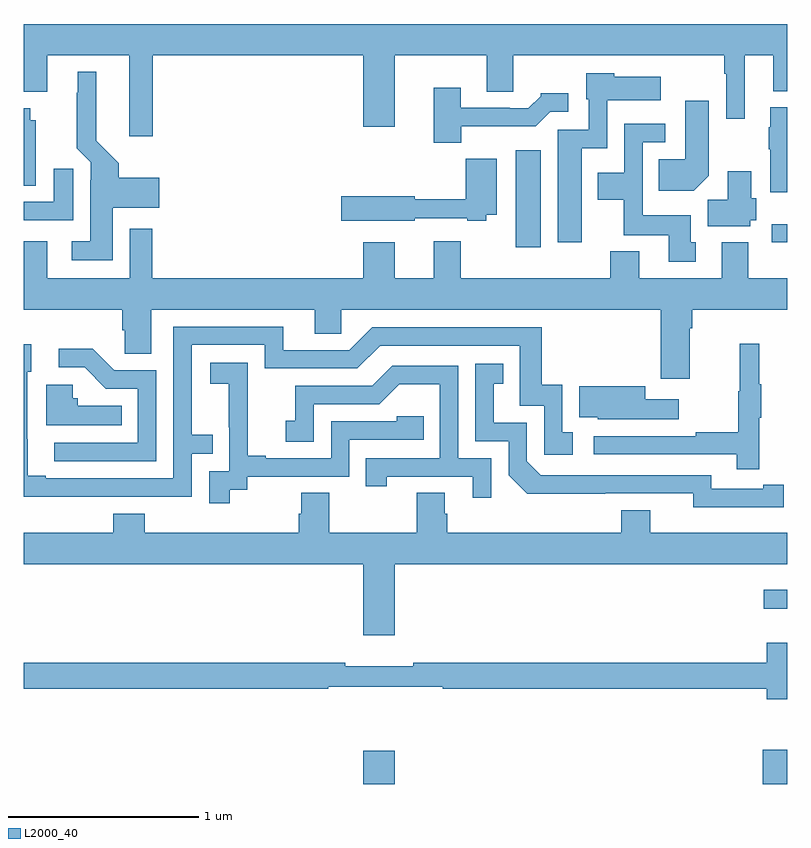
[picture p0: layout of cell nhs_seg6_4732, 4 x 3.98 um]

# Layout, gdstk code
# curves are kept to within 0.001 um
import gdstk
lib = gdstk.Library(unit=1e-6, precision=1e-09)
def R(c, l, rs):  # rectangles x0, y0, x1, y1
    for r in rs: c.add(gdstk.rectangle(r[:2], r[2:], *l))
def P(c, l, *ps):  # polygons
    for p in ps: c.add(gdstk.Polygon(p, *l))
L2000_40 = (2000, 40)

nhs_seg6_4732 = lib.new_cell('nhs_seg6_4732')
R(nhs_seg6_4732, L2000_40, [(392.78,963.5,392.944,963.673), (394.871,963.5,395,963.679), (394.875,964.419,395,964.516), (393.578,966.312,393.709,966.82), (394.917,966.336,395,966.432)])
P(nhs_seg6_4732, L2000_40, [(391.676,967.316),(392.78,967.316),(392.78,966.942),(392.944,966.942),(392.944,967.316),(393.425,967.316),(393.425,967.126),(393.565,967.126),(393.565,967.316),(394.668,967.316),(394.668,967.22),(394.68,967.22),(394.68,966.984),(394.777,966.984),(394.777,967.316),(394.925,967.316),(394.925,967.129),(395,967.129),(395,967.48),(391,967.48),(391,967.124),(391.123,967.124),(391.123,967.316),(391.553,967.316),(391.553,966.891),(391.676,966.891)],
  [(391.468,966.518),(391.711,966.518),(391.711,966.676),(391.499,966.676),(391.499,966.75),(391.381,966.868),(391.381,967.231),(391.283,967.231),(391.283,967.121),(391.279,967.121),(391.279,966.83),(391.353,966.756),(391.353,966.662),(391.349,966.662),(391.349,966.343),(391.251,966.343),(391.251,966.242),(391.468,966.242)],
  [(393.922,966.83),(394.056,966.83),(394.056,967.082),(394.336,967.082),(394.336,967.204),(394.092,967.204),(394.092,967.222),(393.947,967.222),(393.947,967.086),(393.96,967.086),(393.96,966.927),(393.797,966.927),(393.797,966.336),(393.922,966.336)],
  [(393.292,966.944),(393.683,966.944),(393.759,967.02),(393.853,967.02),(393.853,967.117),(393.708,967.117),(393.708,967.102),(393.644,967.038),(393.545,967.038),(393.545,967.041),(393.289,967.041),(393.289,967.147),(393.149,967.147),(393.149,966.857),(393.292,966.857)],
  [(394.588,966.686),(394.588,967.078),(394.466,967.078),(394.466,966.772),(394.327,966.772),(394.327,966.608),(394.51,966.608)],
  [(395,967.044),(394.91,967.044),(394.91,966.938),(394.903,966.938),(394.903,966.825),(394.91,966.825),(394.91,966.6),(395,966.6)],
  [(391.063,966.975),(391.036,966.975),(391.036,967.039),(391,967.039),(391,966.634),(391.063,966.634)],
  [(394.519,966.336),(394.495,966.336),(394.495,966.478),(394.242,966.478),(394.242,966.861),(394.36,966.861),(394.36,966.957),(394.146,966.957),(394.146,966.7),(394.007,966.7),(394.007,966.56),(394.144,966.56),(394.144,966.374),(394.379,966.374),(394.379,966.234),(394.519,966.234)],
  [(393.048,966.462),(393.323,966.462),(393.323,966.45),(393.423,966.45),(393.423,966.482),(393.478,966.482),(393.478,966.775),(393.316,966.775),(393.316,966.563),(393.048,966.563),(393.048,966.579),(392.664,966.579),(392.664,966.449),(393.048,966.449)],
  [(391.261,966.721),(391.157,966.721),(391.157,966.549),(391,966.549),(391,966.453),(391.261,966.453)],
  [(394.806,966.453),(394.836,966.453),(394.836,966.567),(394.81,966.567),(394.81,966.709),(394.688,966.709),(394.688,966.56),(394.583,966.56),(394.583,966.422),(394.806,966.422)],
  [(394.489,965.888),(394.502,965.888),(394.502,965.984),(395,965.984),(395,966.148),(394.795,966.148),(394.795,966.337),(394.655,966.337),(394.655,966.148),(394.225,966.148),(394.225,966.289),(394.073,966.289),(394.073,966.148),(393.289,966.148),(393.289,966.343),(393.149,966.343),(393.149,966.148),(392.944,966.148),(392.944,966.337),(392.78,966.337),(392.78,966.148),(391.673,966.148),(391.673,966.409),(391.557,966.409),(391.557,966.148),(391.123,966.148),(391.123,966.343),(391,966.343),(391,965.984),(391.517,965.984),(391.517,965.875),(391.53,965.875),(391.53,965.752),(391.669,965.752),(391.669,965.984),(392.525,965.984),(392.525,965.857),(392.664,965.857),(392.664,965.984),(394.337,965.984),(394.337,965.622),(394.489,965.622)],
  [(391.385,965.004),(391.881,965.004),(391.881,965.229),(391.991,965.229),(391.991,965.33),(391.881,965.33),(391.881,965.799),(392.262,965.799),(392.262,965.676),(392.748,965.676),(392.868,965.796),(393.597,965.796),(393.597,965.481),(393.726,965.481),(393.726,965.223),(393.877,965.223),(393.877,965.343),(393.822,965.343),(393.822,965.59),(393.713,965.59),(393.713,965.892),(392.826,965.892),(392.706,965.772),(392.359,965.772),(392.359,965.895),(391.785,965.895),(391.785,965.1),(391.117,965.1),(391.117,965.113),(391.021,965.113),(391.02,965.658),(391.039,965.658),(391.039,965.803),(391,965.803),(391,965.003)],
  [(394.853,965.419),(394.864,965.419),(394.864,965.593),(394.853,965.593),(394.853,965.806),(394.75,965.806),(394.75,965.556),(394.743,965.556),(394.743,965.342),(394.519,965.342),(394.519,965.322),(393.987,965.322),(393.987,965.226),(394.735,965.226),(394.735,965.148),(394.853,965.148)],
  [(391.695,965.667),(391.476,965.667),(391.363,965.78),(391.185,965.78),(391.185,965.682),(391.319,965.682),(391.43,965.571),(391.599,965.571),(391.599,965.286),(391.161,965.286),(391.161,965.19),(391.695,965.19)],
  [(392.08,965.041),(392.172,965.041),(392.172,965.109),(392.706,965.109),(392.706,965.304),(393.095,965.304),(393.095,965.427),(392.955,965.427),(392.955,965.4),(392.61,965.4),(392.61,965.205),(392.269,965.205),(392.269,965.218),(392.174,965.218),(392.174,965.501),(392.175,965.501),(392.175,965.707),(391.977,965.707),(391.977,965.597),(392.075,965.597),(392.075,965.369),(392.076,965.369),(392.076,965.139),(391.971,965.139),(391.971,964.971),(392.08,964.971)],
  [(394.874,964.95),(394.982,964.95),(394.982,965.066),(394.874,965.066),(394.874,965.046),(394.602,965.046),(394.602,965.118),(393.708,965.118),(393.636,965.19),(393.636,965.391),(393.463,965.391),(393.463,965.595),(393.512,965.595),(393.512,965.701),(393.366,965.701),(393.366,965.295),(393.54,965.295),(393.54,965.118),(393.638,965.021),(394.506,965.022),(394.506,964.949)],
  [(393.45,965.205),(393.276,965.205),(393.276,965.691),(392.93,965.691),(392.825,965.586),(392.422,965.586),(392.422,965.401),(392.373,965.401),(392.373,965.292),(392.52,965.292),(392.52,965.49),(392.862,965.49),(392.966,965.594),(393.18,965.594),(393.18,965.205),(392.791,965.205),(392.791,965.058),(392.902,965.058),(392.902,965.109),(393.353,965.109),(393.353,964.998),(393.45,964.998)],
  [(391.514,965.482),(391.284,965.482),(391.284,965.52),(391.257,965.52),(391.257,965.59),(391.118,965.59),(391.118,965.378),(391.514,965.378)],
  [(394.432,965.515),(394.255,965.515),(394.255,965.584),(393.911,965.584),(393.911,965.42),(394.008,965.42),(394.008,965.411),(394.432,965.411)],
  [(392.944,964.652),(395,964.652),(395,964.816),(394.282,964.816),(394.282,964.933),(394.13,964.933),(394.13,964.816),(393.218,964.816),(393.218,964.914),(393.205,964.914),(393.205,965.024),(393.058,965.024),(393.058,964.816),(392.601,964.816),(392.601,965.024),(392.453,965.024),(392.453,964.914),(392.441,964.914),(392.441,964.816),(391.634,964.816),(391.634,964.915),(391.469,964.915),(391.469,964.816),(391,964.816),(391,964.652),(392.78,964.652),(392.78,964.278),(392.944,964.278)],
  [(395,964.24),(394.892,964.24),(394.892,964.136),(393.04,964.136),(393.04,964.117),(392.684,964.117),(392.684,964.136),(391,964.136),(391,964),(392.596,964),(392.596,964.008),(393.196,964.008),(393.196,964),(394.892,964),(394.892,963.944),(395,963.944)])

lib.write_gds('nhs_seg6_4732.gds')
